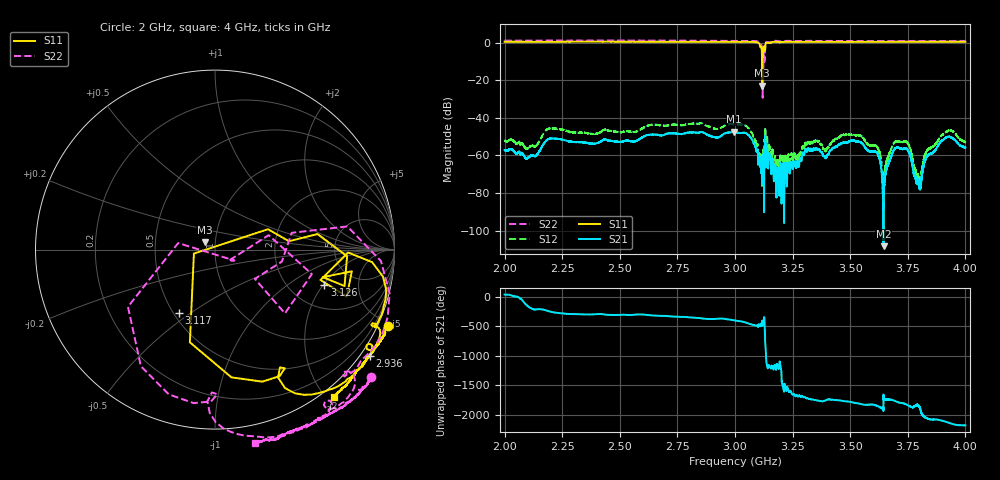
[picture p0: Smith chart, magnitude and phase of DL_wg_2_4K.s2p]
!Agilent Technologies,N5230C,SG49000117,A.08.50.07
!Agilent N5230C: A.08.50.07
!Date: Tuesday, May 07, 2024 00:14:39
!Correction: S11(Full 2 Port(1,2))
!S21(Full 2 Port(1,2))
!S12(Full 2 Port(1,2))
!S22(Full 2 Port(1,2))
!S2P File: Measurements: S11, S21, S12, S22:
# Hz S  MA  R 50
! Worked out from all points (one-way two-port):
!   20001 points, 2 GHz to 4 GHz, reference 50 ohm
!   highest |S21| = -47.44 dB at 2.996 GHz (marker M1); lowest = -108.3 dB at 3.645 GHz (marker M2)
!   lowest |S11| = -23.0 dB at 3.118 GHz (marker M3), VSWR 1.15, Z = 44.5 + j3.73 ohm
!   |S11| at or under -10 dB: 3.11746 GHz to 3.1193 GHz (1.84 MHz wide, 0.059 % of centre)
!   |S22| runs from -29.4 to 1.1 dB; largest |S21 - S12| = 0.0039
!   S11 on the Smith chart (normalised r, x): 2 GHz: -0.58, -4.65; 2.936 GHz: -0.26, -3.19; 3.117 GHz: 0.54, -0.45; 3.126 GHz: 3.09, -2.05; 4 GHz: -0.14, -2.09
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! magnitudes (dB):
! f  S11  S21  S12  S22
! 2 GHz  0.4  -57.2  -52.1  1.0
! 2.333 GHz  0.5  -53.0  -47.9  1.1
! 2.667 GHz  0.4  -49.1  -43.9  1.1
! 2.936 GHz  0.4  -50.0  -45.5  0.9
! 2.996 GHz  0.4  -47.4  -43.3  0.9
! 3 GHz  0.4  -47.6  -43.5  0.9
! 3.067 GHz  0.3  -50.4  -46.9  0.9
! 3.117 GHz  -7.9  -75.7  -76.3  -2.9
! 3.118 GHz  -23.0  -68.6  -70.7  -5.4
! 3.126 GHz  -3.9  -63.9  -59.6  -5.0
! 3.14 GHz  0.0  -56.1  -51.0  0.2
! 3.185 GHz  0.3  -66.7  -62.5  0.9
! 3.333 GHz  0.4  -57.3  -53.4  0.9
! 3.545 GHz  0.4  -53.0  -49.5  0.8
! 3.619 GHz  0.4  -59.0  -55.9  0.9
! 3.645 GHz  0.4  -108.3  -92.0  0.9
! 3.667 GHz  0.4  -64.2  -60.3  0.9
! 3.744 GHz  0.4  -56.4  -52.7  0.9
! 3.799 GHz  0.4  -75.4  -73.3  0.8
! 3.831 GHz  0.4  -61.1  -58.0  0.8
! 3.904 GHz  0.4  -51.7  -48.9  0.8
! 4 GHz  0.4  -56.0  -53.0  0.9
